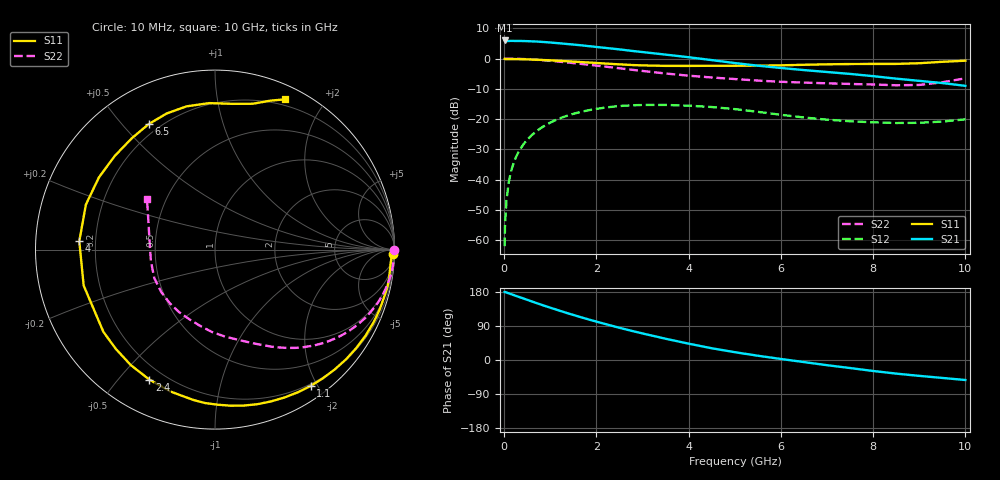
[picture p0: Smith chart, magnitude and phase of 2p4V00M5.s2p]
! (c) 2009  Infineon Technologies AG, Munich
! Infineon Technologies  Discrete & RF Semiconductors
! BFP420
! VCE =  4.0 V,  IC =  0.5 mA
! Common Emitter S-Parameters:  Nov 2009
# GHz  S  MA  R  50
!  f  S11  S21  S12  S22
! GHz  MAG  ANG  MAG  ANG  MAG  ANG  MAG  ANG
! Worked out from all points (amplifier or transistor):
!   46 points, 10 MHz to 10 GHz, reference 50 ohm
!   highest |S21| = 6.0 dB at 10 MHz (marker M1)
!   |S21| within 3 dB of that: start of sweep to 2.525 GHz
!   unconditionally stable (mu >= 1): 4.482 GHz to end of sweep
!   at 300 MHz: K = 0.02, MSG = 18.5 dB, |S12| = -31.2 dB
!   at 1.7 GHz: K = 0.25, MSG = 10.9 dB, |S12| = -17.5 dB
!   at 10 GHz: K = 1.56, MAG = 1.1 dB, |S12| = -20.1 dB
!   lowest NFmin = 0.68 dB at 900 MHz
!   S11 on the Smith chart (normalised r, x): 10 MHz: 21, -70; 1.1 GHz: 0.17, -1.91; 2.4 GHz: 0.14, -0.61; 4 GHz: 0.14, +0.03; 6.5 GHz: 0.16, +0.59; 10 GHz: 0.14, +1.56
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0.01  0.9922 -1.5  1.994 179.4  0.0008 80.6  0.9992 -0.1
0.02  0.9836 -1.0  1.933 179.5  0.0019 85.3  0.9981 -0.4
0.05  0.9838 -2.6  1.947 178.1  0.0045 86.1  0.9981 -1.2
0.1  0.9812 -5.1  1.956 175.9  0.0091 86.2  0.9982 -2.6
0.15  0.9819 -7.5  1.961 173.8  0.0138 85.1  0.9969 -3.8
0.25  0.9824 -12.4  1.955 169.3  0.023 82.4  0.9933 -6.4
0.4  0.9761 -19.9  1.952 163.1  0.0367 77.8  0.9841 -10.2
0.6  0.9663 -29.9  1.927 154.5  0.0546 71.5  0.9669 -15.2
0.9  0.9438 -45.0  1.87 142.0  0.0798 62.1  0.9316 -22.3
1.1  0.928 -54.9  1.816 134.2  0.0954 56.2  0.9044 -26.7
1.4  0.9016 -69.8  1.734 122.5  0.1163 47.1  0.8595 -33.1
1.7  0.8742 -84.2  1.65 111.7  0.1339 38.6  0.8127 -38.9
2.4  0.8113 -116.8  1.447 88.2  0.1621 20.0  0.7067 -50.8
3  0.7725 -143.6  1.283 70.1  0.1718 5.5  0.6258 -59.8
3.5  0.7586 -164.7  1.164 56.1  0.1718 -5.1  0.568 -67.2
4  0.7575 176.5  1.054 43.1  0.1671 -14.1  0.5224 -74.9
4.5  0.7618 160.8  0.945 31.0  0.1588 -22.4  0.4879 -83.4
5.5  0.7643 137.0  0.764 11.3  0.1323 -34.4  0.4336 -100.8
6.5  0.7907 117.9  0.647 -5.5  0.1067 -38.1  0.4019 -119.7
7  0.8047 109.6  0.601 -13.7  0.0981 -37.0  0.391 -130.0
8.5  0.8177 83.3  0.467 -35.9  0.0864 -28.9  0.3628 -170.0
10  0.9235 65.0  0.355 -52.8  0.0994 -18.5  0.4728 143.3
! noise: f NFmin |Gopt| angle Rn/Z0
0.9  0.68  0.78  35  0.65
1.8  1.42  0.6  75  0.5
2.4  1.57  0.58  98  0.37
3  2.1  0.58  128  0.24
4  2.49  0.57  177  0.09
